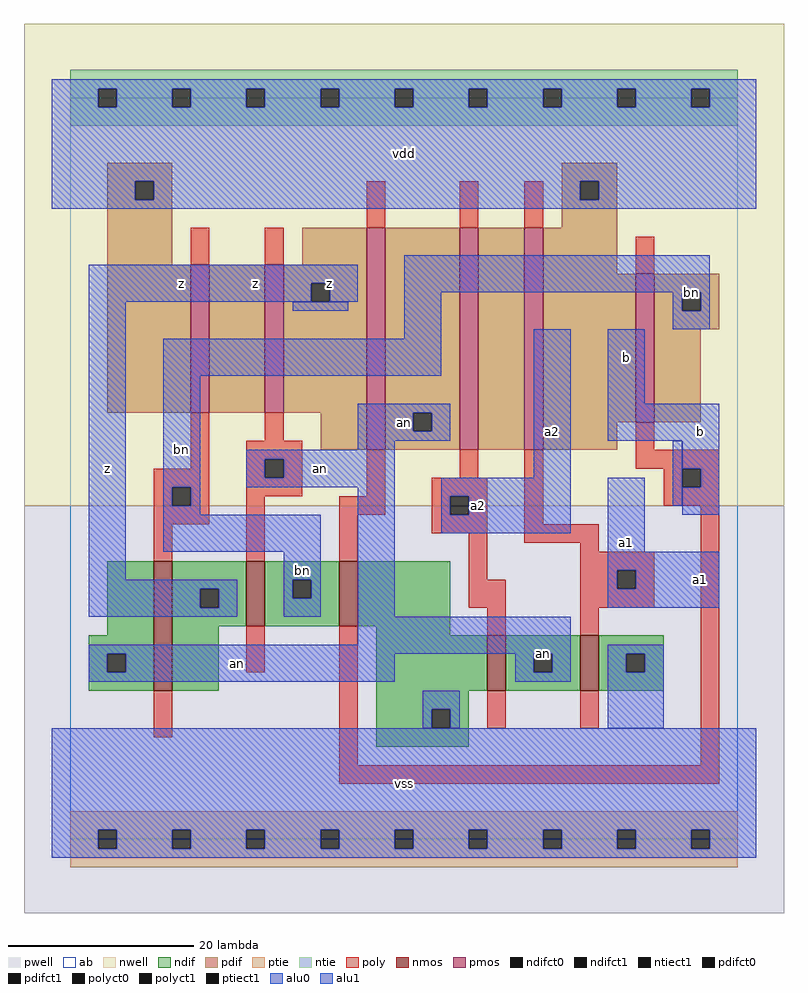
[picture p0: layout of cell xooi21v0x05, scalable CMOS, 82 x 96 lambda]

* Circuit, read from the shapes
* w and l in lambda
.subckt xooi21v0x05 a1 a2 an b bn vdd vss z
M1 z bn an vss nfet w=14 l=2
M2 bn an z vss nfet w=7 l=2
M3 vss b bn vss nfet w=7 l=2
M4 an a2 vss vss nfet w=6 l=2
M5 vss a1 an vss nfet w=6 l=2
M6 n1 bn vdd vdd pfet w=16 l=2
M7 z an n1 vdd pfet w=16 l=2
M8 an b z vdd pfet w=24 l=2
M9 n2 a2 an vdd pfet w=24 l=2
M10 vdd a1 n2 vdd pfet w=24 l=2
M11 bn b vdd vdd pfet w=16 l=2
.ends

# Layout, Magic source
magic
tech scmos
<< ab >>
rect 0 0 72 80
<< nwell >>
rect -5 36 77 88
<< pwell >>
rect -5 -8 77 36
<< poly >>
rect 32 66 34 71
rect 42 66 44 71
rect 49 66 51 71
rect 13 62 15 66
rect 21 62 23 66
rect 13 40 15 46
rect 21 43 23 46
rect 9 38 15 40
rect 9 36 11 38
rect 13 36 15 38
rect 9 34 15 36
rect 19 41 25 43
rect 61 61 63 65
rect 61 42 63 45
rect 19 39 21 41
rect 23 39 25 41
rect 19 37 25 39
rect 32 37 34 42
rect 42 39 44 42
rect 9 30 11 34
rect 19 30 21 37
rect 29 35 34 37
rect 39 37 45 39
rect 39 35 41 37
rect 43 35 45 37
rect 29 30 31 35
rect 39 33 45 35
rect 43 28 45 33
rect 49 34 51 42
rect 61 40 70 42
rect 64 38 66 40
rect 68 38 70 40
rect 64 36 70 38
rect 49 32 57 34
rect 55 31 57 32
rect 55 29 63 31
rect 43 25 47 28
rect 19 18 21 23
rect 9 11 11 16
rect 29 8 31 23
rect 45 22 47 25
rect 55 27 59 29
rect 61 27 63 29
rect 55 25 63 27
rect 55 22 57 25
rect 45 12 47 16
rect 55 12 57 16
rect 68 8 70 36
rect 29 6 70 8
<< ndif >>
rect 4 22 9 30
rect 2 20 9 22
rect 2 18 4 20
rect 6 18 9 20
rect 2 16 9 18
rect 11 27 19 30
rect 11 25 14 27
rect 16 25 19 27
rect 11 23 19 25
rect 21 28 29 30
rect 21 26 24 28
rect 26 26 29 28
rect 21 23 29 26
rect 31 23 41 30
rect 11 16 16 23
rect 33 22 41 23
rect 33 16 45 22
rect 47 20 55 22
rect 47 18 50 20
rect 52 18 55 20
rect 47 16 55 18
rect 57 20 64 22
rect 57 18 60 20
rect 62 18 64 20
rect 57 16 64 18
rect 33 14 43 16
rect 33 12 39 14
rect 41 12 43 14
rect 33 10 43 12
<< pdif >>
rect 4 71 11 73
rect 53 71 59 73
rect 4 69 7 71
rect 9 69 11 71
rect 4 62 11 69
rect 53 69 55 71
rect 57 69 59 71
rect 53 66 59 69
rect 25 62 32 66
rect 4 46 13 62
rect 15 46 21 62
rect 23 60 32 62
rect 23 58 26 60
rect 28 58 32 60
rect 23 46 32 58
rect 27 42 32 46
rect 34 46 42 66
rect 34 44 37 46
rect 39 44 42 46
rect 34 42 42 44
rect 44 42 49 66
rect 51 61 59 66
rect 51 45 61 61
rect 63 59 70 61
rect 63 57 66 59
rect 68 57 70 59
rect 63 55 70 57
rect 63 45 68 55
rect 51 42 59 45
<< alu1 >>
rect -2 81 74 82
rect -2 79 3 81
rect 5 79 11 81
rect 13 79 19 81
rect 21 79 27 81
rect 29 79 35 81
rect 37 79 43 81
rect 45 79 51 81
rect 53 79 59 81
rect 61 79 67 81
rect 69 79 74 81
rect -2 71 74 79
rect -2 69 7 71
rect 9 69 55 71
rect 57 69 74 71
rect -2 68 74 69
rect 2 60 31 62
rect 2 58 26 60
rect 28 58 31 60
rect 2 28 6 58
rect 50 39 54 55
rect 58 47 62 55
rect 58 43 70 47
rect 2 27 18 28
rect 2 25 14 27
rect 16 25 18 27
rect 2 24 18 25
rect 40 37 54 39
rect 40 35 41 37
rect 43 35 54 37
rect 40 33 54 35
rect 58 31 62 39
rect 66 40 70 43
rect 68 38 70 40
rect 66 35 70 38
rect 58 29 70 31
rect 58 27 59 29
rect 61 27 70 29
rect 58 25 70 27
rect -2 1 74 12
rect -2 -1 3 1
rect 5 -1 11 1
rect 13 -1 19 1
rect 21 -1 27 1
rect 29 -1 35 1
rect 37 -1 43 1
rect 45 -1 51 1
rect 53 -1 59 1
rect 61 -1 67 1
rect 69 -1 74 1
rect -2 -2 74 -1
<< ptie >>
rect 0 1 72 3
rect 0 -1 3 1
rect 5 -1 11 1
rect 13 -1 19 1
rect 21 -1 27 1
rect 29 -1 35 1
rect 37 -1 43 1
rect 45 -1 51 1
rect 53 -1 59 1
rect 61 -1 67 1
rect 69 -1 72 1
rect 0 -3 72 -1
<< ntie >>
rect 0 81 72 83
rect 0 79 3 81
rect 5 79 11 81
rect 13 79 19 81
rect 21 79 27 81
rect 29 79 35 81
rect 37 79 43 81
rect 45 79 51 81
rect 53 79 59 81
rect 61 79 67 81
rect 69 79 72 81
rect 0 77 72 79
<< nmos >>
rect 9 16 11 30
rect 19 23 21 30
rect 29 23 31 30
rect 45 16 47 22
rect 55 16 57 22
<< pmos >>
rect 13 46 15 62
rect 21 46 23 62
rect 32 42 34 66
rect 42 42 44 66
rect 49 42 51 66
rect 61 45 63 61
<< polyct0 >>
rect 11 36 13 38
rect 21 39 23 41
<< polyct1 >>
rect 41 35 43 37
rect 66 38 68 40
rect 59 27 61 29
<< ndifct0 >>
rect 4 18 6 20
rect 24 26 26 28
rect 50 18 52 20
rect 60 18 62 20
rect 39 12 41 14
<< ndifct1 >>
rect 14 25 16 27
<< ntiect1 >>
rect 3 79 5 81
rect 11 79 13 81
rect 19 79 21 81
rect 27 79 29 81
rect 35 79 37 81
rect 43 79 45 81
rect 51 79 53 81
rect 59 79 61 81
rect 67 79 69 81
<< ptiect1 >>
rect 3 -1 5 1
rect 11 -1 13 1
rect 19 -1 21 1
rect 27 -1 29 1
rect 35 -1 37 1
rect 43 -1 45 1
rect 51 -1 53 1
rect 59 -1 61 1
rect 67 -1 69 1
<< pdifct0 >>
rect 37 44 39 46
rect 66 57 68 59
<< pdifct1 >>
rect 7 69 9 71
rect 55 69 57 71
rect 26 58 28 60
<< alu0 >>
rect 36 59 69 63
rect 24 57 30 58
rect 36 54 40 59
rect 65 57 66 59
rect 68 57 69 59
rect 65 55 69 57
rect 10 50 40 54
rect 10 38 14 50
rect 31 46 41 47
rect 31 44 37 46
rect 39 44 41 46
rect 31 43 41 44
rect 31 42 35 43
rect 19 41 35 42
rect 19 39 21 41
rect 23 39 35 41
rect 19 38 35 39
rect 10 36 11 38
rect 13 36 14 38
rect 10 35 14 36
rect 10 31 27 35
rect 23 28 27 31
rect 23 26 24 28
rect 26 26 27 28
rect 23 24 27 26
rect 31 24 35 38
rect 65 36 66 43
rect 31 21 54 24
rect 2 20 54 21
rect 2 18 4 20
rect 6 18 35 20
rect 2 17 35 18
rect 48 18 50 20
rect 52 18 54 20
rect 48 17 54 18
rect 58 20 64 21
rect 58 18 60 20
rect 62 18 64 20
rect 38 14 42 16
rect 38 12 39 14
rect 41 12 42 14
rect 58 12 64 18
<< labels >>
rlabel alu0 12 42 12 42 6 bn
rlabel alu0 18 19 18 19 6 an
rlabel alu0 25 29 25 29 6 bn
rlabel alu0 27 40 27 40 6 an
rlabel alu0 36 45 36 45 6 an
rlabel alu0 51 20 51 20 6 an
rlabel alu0 67 59 67 59 6 bn
rlabel alu1 4 40 4 40 6 z
rlabel alu1 12 60 12 60 6 z
rlabel alu1 28 60 28 60 6 z
rlabel alu1 20 60 20 60 6 z
rlabel alu1 36 6 36 6 6 vss
rlabel alu1 44 36 44 36 6 a2
rlabel alu1 52 44 52 44 6 a2
rlabel alu1 36 74 36 74 6 vdd
rlabel alu1 60 32 60 32 6 a1
rlabel alu1 68 28 68 28 6 a1
rlabel alu1 68 44 68 44 6 b
rlabel alu1 60 52 60 52 6 b
<< end >>
